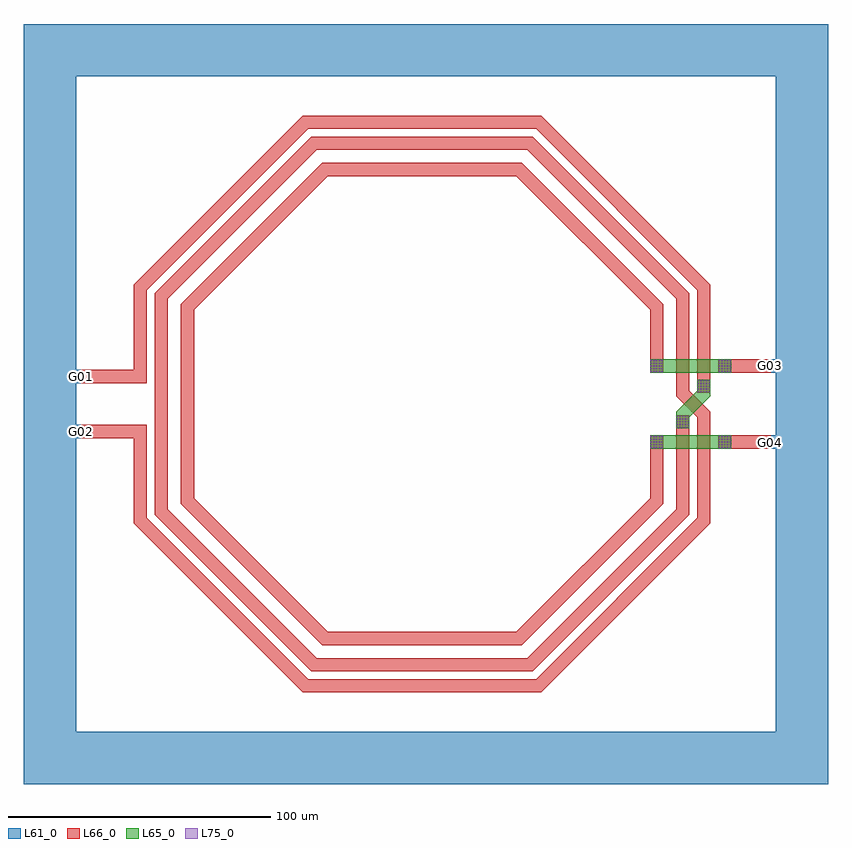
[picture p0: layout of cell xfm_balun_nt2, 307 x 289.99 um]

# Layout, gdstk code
import gdstk
lib = gdstk.Library(unit=1e-6, precision=1e-09)
def R(c, l, rs):  # rectangles x0, y0, x1, y1
    for r in rs: c.add(gdstk.rectangle(r[:2], r[2:], *l))
def A(c, l, x, y, w, h, nx, ny, dx, dy):  # array of equal rectangles
    R(c, l, [(x+i*dx, y+j*dy, x+i*dx+w, y+j*dy+h) for i in range(nx) for j in range(ny)])
def P(c, l, *ps):  # polygons
    for p in ps: c.add(gdstk.Polygon(p, *l))
L61_0 = (61, 0)
L65_0 = (65, 0)
L66_0 = (66, 0)
L75_0 = (75, 0)

xfm_balun_nt2 = lib.new_cell('xfm_balun_nt2')
R(xfm_balun_nt2, L61_0, [(-152,-144.995,-132,144.995), (-132,-144.995,135,-124.995), (135,-144.995,155,144.995), (133,-17,135,-12), (-132,-13,-130,-8), (-132,8,-130,13), (133,12,135,17), (-132,124.995,135,144.995)])
R(xfm_balun_nt2, L65_0, [(87,-17,92,-12), (87,-17,118,-12), (113,-17,118,-12), (97,-9.25,102,-4.25), (105,4.25,110,9.25), (87,12,92,17), (87,12,118,17), (113,12,118,17)])
P(xfm_balun_nt2, L65_0, [(97,-6.75),(97,-2.965),(105,5.035),(105,6.75),(110,6.75),(110,2.965),(102,-5.035),(102,-6.75)])
R(xfm_balun_nt2, L66_0, [(87,-17,92,-12), (113,-17,118,-12), (113,-17,133,-12), (-130,-13,-105,-8), (97,-9.25,102,-4.25), (105,-9.25,110,-4.25), (97,4.25,102,9.25), (105,4.25,110,9.25), (-130,8,-105,13), (87,12,92,17), (113,12,118,17), (113,12,133,17)])
P(xfm_balun_nt2, L66_0, [(105,-6.75),(105,-5.035),(97,2.965),(97,6.75),(102,6.75),(102,5.035),(110,-2.965),(110,-6.75)],
  [(105,4.25),(105,43.48),(43.485,104.995),(0,104.995),(0,109.995),(45.565,109.995),(110,45.56),(110,4.25)],
  [(-110,8),(-110,45.56),(-45.565,109.995),(0,109.995),(0,104.995),(-43.485,104.995),(-105,43.48),(-105,8)],
  [(0,-109.995),(0,-104.995),(43.485,-104.995),(105,-43.48),(105,-4.25),(110,-4.25),(110,-45.56),(45.565,-109.995)],
  [(-45.565,-109.995),(-110,-45.56),(-110,-8),(-105,-8),(-105,-43.48),(-43.485,-104.995),(0,-104.995),(0,-109.995)],
  [(97,4.25),(97,40.165),(40.17,96.995),(0,96.995),(0,101.995),(42.25,101.995),(102,42.245),(102,4.25)],
  [(-102,0),(-102,42.245),(-42.25,101.995),(0,101.995),(0,96.995),(-40.17,96.995),(-97,40.165),(-97,0)],
  [(0,-101.995),(0,-96.995),(40.17,-96.995),(97,-40.165),(97,-4.25),(102,-4.25),(102,-42.245),(42.25,-101.995)],
  [(-42.25,-101.995),(-102,-42.245),(-102,0),(-97,0),(-97,-40.165),(-40.17,-96.995),(0,-96.995),(0,-101.995)],
  [(-92,0),(-92,38.105),(-38.11,91.995),(0,91.995),(0,86.995),(-36.03,86.995),(-87,36.025),(-87,0)],
  [(87,12),(87,36.025),(36.03,86.995),(0,86.995),(0,91.995),(38.11,91.995),(92,38.105),(92,12)],
  [(-38.11,-91.995),(-92,-38.105),(-92,0),(-87,0),(-87,-36.025),(-36.03,-86.995),(0,-86.995),(0,-91.995)],
  [(0,-91.995),(0,-86.995),(36.03,-86.995),(87,-36.025),(87,-12),(92,-12),(92,-38.105),(38.11,-91.995)])
A(xfm_balun_nt2, L75_0, 87.15, -16.85, 0.5, 0.5, 5, 5, 1.05, 1.05)
A(xfm_balun_nt2, L75_0, 113.15, -16.85, 0.5, 0.5, 5, 5, 1.05, 1.05)
A(xfm_balun_nt2, L75_0, 97.15, -9.1, 0.5, 0.5, 5, 5, 1.05, 1.05)
A(xfm_balun_nt2, L75_0, 105.15, 4.4, 0.5, 0.5, 5, 5, 1.05, 1.05)
A(xfm_balun_nt2, L75_0, 87.15, 12.15, 0.5, 0.5, 5, 5, 1.05, 1.05)
A(xfm_balun_nt2, L75_0, 113.15, 12.15, 0.5, 0.5, 5, 5, 1.05, 1.05)
xfm_balun_nt2.add(gdstk.Label('G01', (-130,10.5), layer=61, texttype=2))
xfm_balun_nt2.add(gdstk.Label('G02', (-130,-10.5), layer=61, texttype=2))
xfm_balun_nt2.add(gdstk.Label('G03', (133,14.5), layer=61, texttype=2))
xfm_balun_nt2.add(gdstk.Label('G04', (133,-14.5), layer=61, texttype=2))
xfm_balun_nt2.add(gdstk.Label('P1', (-130,10.5), layer=66, texttype=2))
xfm_balun_nt2.add(gdstk.Label('N1', (-130,-10.5), layer=66, texttype=2))
xfm_balun_nt2.add(gdstk.Label('P2', (133,14.5), layer=66, texttype=2))
xfm_balun_nt2.add(gdstk.Label('N2', (133,-14.5), layer=66, texttype=2))

lib.write_gds('xfm_balun_nt2.gds')
